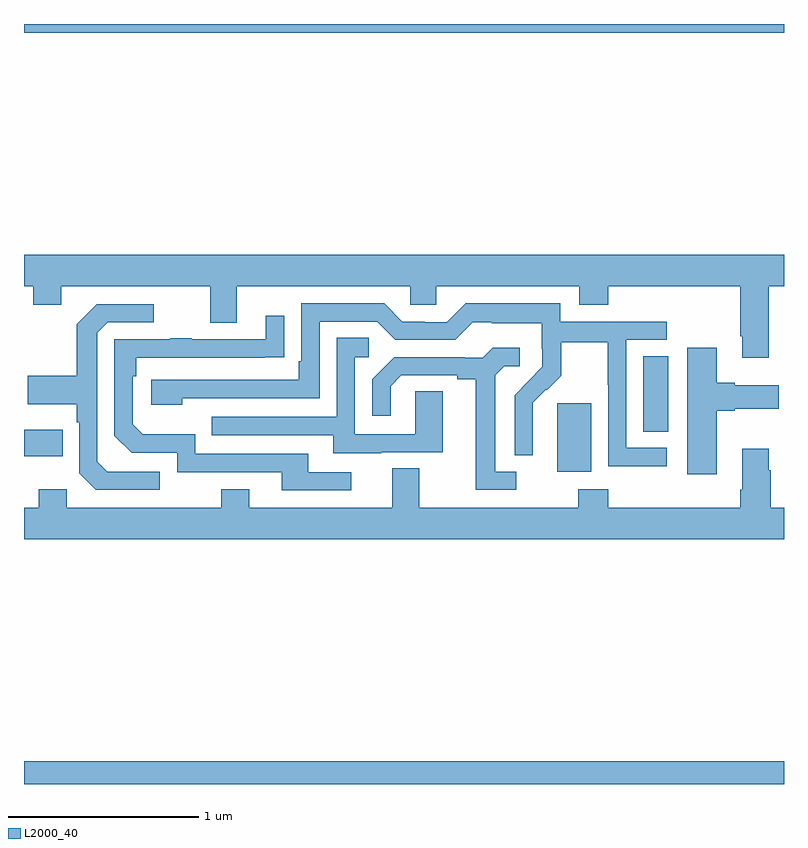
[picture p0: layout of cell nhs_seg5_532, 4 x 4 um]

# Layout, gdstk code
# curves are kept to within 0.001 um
import gdstk
lib = gdstk.Library(unit=1e-6, precision=1e-09)
def R(c, l, rs):  # rectangles x0, y0, x1, y1
    for r in rs: c.add(gdstk.rectangle(r[:2], r[2:], *l))
def P(c, l, *ps):  # polygons
    for p in ps: c.add(gdstk.Polygon(p, *l))
L2000_40 = (2000, 40)

nhs_seg5_532 = lib.new_cell('nhs_seg5_532')
R(nhs_seg5_532, L2000_40, [(145,860.799,149,860.92), (147.806,862.442,147.985,862.803), (145,862.523,145.205,862.663), (148.259,862.654,148.39,863.051), (145,864.752,149,864.799)])
P(nhs_seg5_532, L2000_40, [(148.921,863.42),(149,863.42),(149,863.584),(145,863.584),(145,863.42),(145.048,863.42),(145.048,863.321),(145.195,863.321),(145.195,863.42),(145.979,863.42),(145.979,863.226),(146.119,863.226),(146.119,863.42),(147.033,863.42),(147.033,863.322),(147.171,863.322),(147.171,863.42),(147.923,863.42),(147.923,863.321),(148.076,863.321),(148.076,863.42),(148.769,863.42),(148.769,863.155),(148.781,863.155),(148.781,863.043),(148.921,863.043)],
  [(148.384,862.569),(148.17,862.569),(148.17,863.136),(148.384,863.136),(148.384,863.232),(147.822,863.232),(147.822,863.329),(147.325,863.329),(147.225,863.229),(147.11,863.229),(147.11,863.232),(146.991,863.232),(146.895,863.328),(146.46,863.328),(146.46,863.023),(146.447,863.023),(146.447,862.926),(145.671,862.926),(145.671,862.796),(145.832,862.796),(145.832,862.83),(146.556,862.83),(146.556,863.232),(146.859,863.232),(146.955,863.136),(147.27,863.136),(147.363,863.229),(147.463,863.229),(147.463,863.225),(147.726,863.225),(147.726,863.091),(147.728,863.091),(147.728,862.994),(147.582,862.846),(147.582,862.528),(147.678,862.528),(147.677,862.805),(147.747,862.875),(147.75,862.872),(147.827,862.949),(147.827,863.124),(148.072,863.124),(148.072,862.9),(148.074,862.9),(148.074,862.471),(148.384,862.471)],
  [(145.714,862.443),(145.437,862.443),(145.386,862.494),(145.386,863.175),(145.44,863.229),(145.684,863.229),(145.684,863.325),(145.383,863.325),(145.278,863.219),(145.278,862.947),(145.021,862.947),(145.021,862.799),(145.278,862.799),(145.278,862.703),(145.29,862.703),(145.29,862.434),(145.377,862.347),(145.714,862.347)],
  [(146.722,862.44),(146.497,862.44),(146.497,862.536),(145.902,862.536),(145.902,862.639),(145.625,862.639),(145.572,862.692),(145.572,862.946),(145.592,862.946),(145.592,863.043),(146.369,863.044),(146.369,863.263),(146.273,863.263),(146.273,863.139),(145.883,863.139),(145.883,863.144),(145.771,863.144),(145.771,863.139),(145.476,863.139),(145.476,862.632),(145.566,862.542),(145.806,862.542),(145.806,862.44),(146.357,862.44),(146.357,862.344),(146.722,862.344)],
  [(146.881,862.545),(147.205,862.545),(147.205,862.865),(147.06,862.865),(147.06,862.641),(146.742,862.641),(146.742,863.046),(146.815,863.046),(146.815,863.147),(146.646,863.147),(146.646,862.731),(145.987,862.731),(145.987,862.635),(146.627,862.635),(146.627,862.541),(146.881,862.541)],
  [(147.592,862.443),(147.481,862.443),(147.481,862.951),(147.528,862.998),(147.61,862.998),(147.61,863.095),(147.466,863.095),(147.414,863.043),(147.32,863.043),(147.32,863.046),(146.948,863.046),(146.832,862.93),(146.832,862.737),(146.929,862.737),(146.929,862.893),(146.986,862.95),(147.281,862.95),(147.281,862.928),(147.377,862.928),(147.377,862.347),(147.592,862.347)],
  [(148.645,862.763),(148.741,862.763),(148.741,862.775),(148.972,862.775),(148.972,862.897),(148.741,862.897),(148.741,862.91),(148.645,862.91),(148.645,863.095),(148.49,863.095),(148.49,862.428),(148.645,862.428)],
  [(146.038,862.351),(146.038,862.252),(145.224,862.252),(145.224,862.351),(145.078,862.351),(145.078,862.252),(145,862.252),(145,862.088),(149,862.088),(149,862.252),(148.929,862.252),(148.929,862.451),(148.921,862.451),(148.921,862.564),(148.781,862.564),(148.781,862.348),(148.769,862.348),(148.769,862.252),(148.076,862.252),(148.076,862.351),(147.916,862.351),(147.916,862.252),(147.079,862.252),(147.079,862.46),(146.939,862.46),(146.939,862.252),(146.185,862.252),(146.185,862.351)])

lib.write_gds('nhs_seg5_532.gds')
